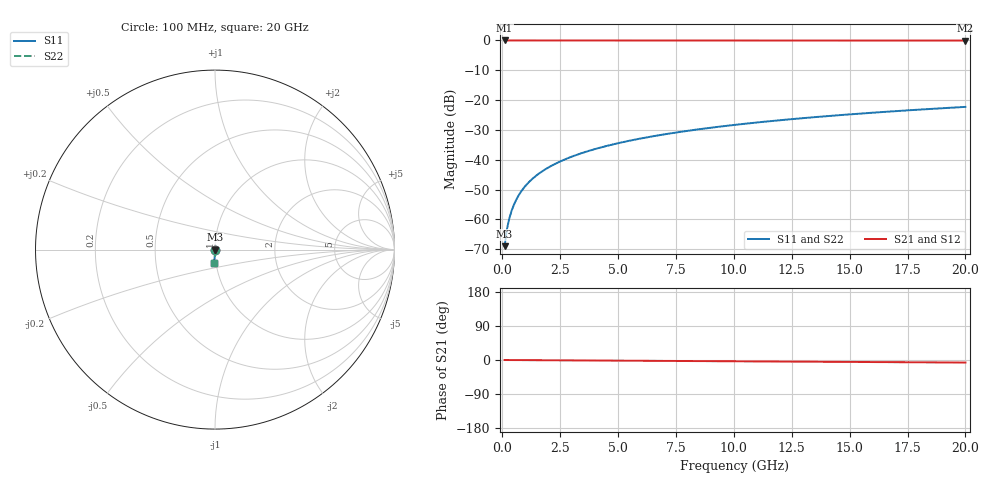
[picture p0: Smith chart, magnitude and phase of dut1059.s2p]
! Touchstone file exported from HFSS 2026.1.0
!  File:  C:/ffzhzh/LocalFiles/Ansys_Project_Files/temp_train_TSV_1059_1783189670_22436.aedt
!  Generated:  02:28:59 AM Jul  5, 2026
!  Design:  TSV
!  Project:  temp_train_TSV_1059_1783189670_22436
! Variables:
!  h_bsmrdl = 2um
!  h_ox = 20um
!  h_rdl = 5um
!  h_sub = 54.09um
!  h_tmrdl = 5um
!  h_tsv = 54.09um
!  h_via = 3um
!  l_bsmrdl = 300um
!  l_sub = 417.26um
!  l_tmrdl = 200um
!  m_sub = 200um
!  pitch = 20.46um
!  r_tsv = 8.63um
!  s_tmrdl = 10um
!  w_bsmrdl = 18um
!  w_sub = 500um
!  w_tmrdl = 12um
!  x_tsv_center1 = 206um
!  x_tsv_center2 = 524um
!  x_tsv_center3 = 736um
!  x_tsv_center4 = 1054um
!  x_tsv_center5 = 1266um
!  x_tsv_center6 = 1584um
# GHz S MA R 50.000000
! Terminal data exported
! Port[1] = TSV1_1_T1
! Port[2] = TSV1_1_T2
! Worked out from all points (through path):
!   200 points, 100 MHz to 20 GHz, reference 50 ohm
!   highest |S21| = 0.00 dB at 100 MHz (marker M1); lowest = 0.0 dB at 20 GHz (marker M2)
!   lowest |S11| = -69.0 dB at 100 MHz (marker M3), VSWR 1.00, Z = 50 - j0.033 ohm
!   |S11| at or under -10 dB: start of sweep to end of sweep
!   |S22| runs from -69.0 to -22.3 dB; largest |S21 - S12| = 2.3e-15
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0.1  0.0003568 -67.8  0.9999 -0.0  0.9999 -0.0  0.0003568 -67.8
! Gamma 0 0 0 0
! Port Impedance 50 0 50 0
0.2  0.0006855 -76.9  0.9998 -0.1  0.9998 -0.1  0.0006855 -76.9
0.3  0.001032 -79.8  0.9998 -0.1  0.9998 -0.1  0.001032 -79.8
0.4  0.001391 -81.2  0.9998 -0.1  0.9998 -0.1  0.001391 -81.2
0.5  0.001759 -82.1  0.9998 -0.2  0.9998 -0.2  0.001759 -82.1
0.7  0.00251 -83.4  0.9997 -0.2  0.9997 -0.2  0.00251 -83.4
0.8  0.00289 -84.0  0.9997 -0.3  0.9997 -0.3  0.00289 -84.0
1  0.003653 -84.8  0.9996 -0.4  0.9996 -0.4  0.003653 -84.8
1.2  0.004416 -85.5  0.9996 -0.4  0.9996 -0.4  0.004416 -85.5
1.4  0.005179 -86.1  0.9996 -0.5  0.9996 -0.5  0.005179 -86.1
1.7  0.006324 -86.7  0.9996 -0.6  0.9996 -0.6  0.006324 -86.7
2  0.007468 -87.2  0.9995 -0.7  0.9995 -0.7  0.007468 -87.2
2.7  0.01014 -88.0  0.9994 -0.9  0.9994 -0.9  0.01014 -88.0
3.5  0.0132 -88.7  0.9993 -1.2  0.9993 -1.2  0.0132 -88.7
4.2  0.01589 -89.1  0.9992 -1.4  0.9992 -1.4  0.01589 -89.1
5  0.01897 -89.6  0.9991 -1.7  0.9991 -1.7  0.01897 -89.6
6.8  0.02593 -90.5  0.9988 -2.3  0.9988 -2.3  0.02593 -90.5
8.3  0.03174 -91.1  0.9986 -2.8  0.9986 -2.8  0.03174 -91.1
10.1  0.03872 -91.9  0.9982 -3.4  0.9982 -3.4  0.03872 -91.9
13.4  0.05151 -93.2  0.9975 -4.5  0.9975 -4.5  0.05151 -93.2
16.7  0.06428 -94.4  0.9966 -5.6  0.9966 -5.6  0.06428 -94.4
20  0.07702 -95.6  0.9955 -6.8  0.9955 -6.8  0.07702 -95.6
